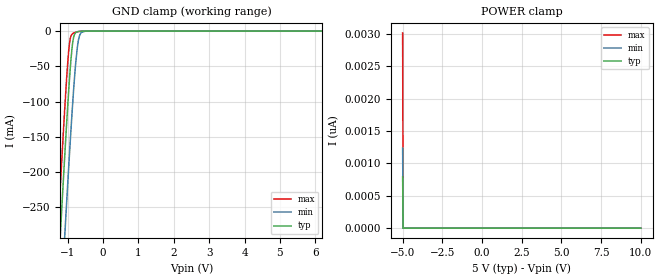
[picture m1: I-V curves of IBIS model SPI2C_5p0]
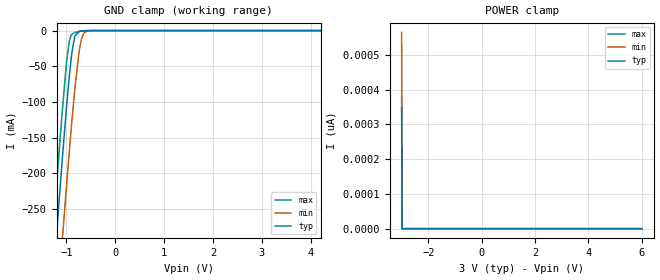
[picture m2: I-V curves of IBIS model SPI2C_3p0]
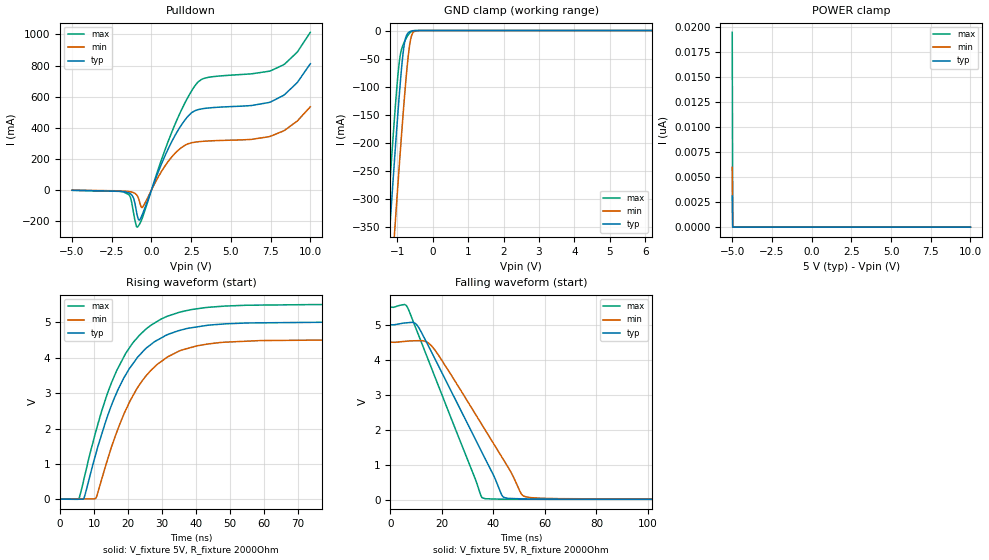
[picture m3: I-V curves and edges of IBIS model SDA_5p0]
|Texas Instruments Incorporated
|  part#   Digital Voltage Range
| DACx0502   2.7V - 5.5V
[IBIS Ver]   4.1
[File name]   dacx0502.ibs
[File Rev]   1.0
[Date]   09/11/2019
[Source]
| Texas Instruments Incorporated.
| 12500 TI Blvd
| Dallas, TX -75243
[Notes]   Revision History:
| Rev 1.0: 09/11/2019
| - Initial version of the model
| - Model generated from simulations in TISPICE
| - C_comp although listed in numerical order of value are
|   obtained from varying PVT conditions. For PVT conditions for
|   each specific value refer the buffer description under
|   respective [Model]. IBIS model user is responsible for using
|   appropriate C_comp to simulate for Signal Integrity.
| - Warnings regarding combined Non-monotonicity of various models have been
|   reviewed and considered minor and can be ignored.
| - Model names with a trailing _3p0 contain the model for
|   3.0V operation. Model names with a trailing _5p0 contain the model
|   for 5.0V operation.
[Disclaimer]
| This model is designed as an aid for customers of Texas Instruments.
| TI and its licensors and suppliers make no warranties, either expressed
| or implied, with respect to this  model, including the warranties of
| merchantability or fitness for a particular purpose. The model is
| provided solely on an "as is" basis. The entire risk as to its quality
| and performance is with the customer.
| This model is subject to change without notice. Texas Instruments
| Incorporated is not responsible for updating this model.
[Copyright]
 (C) Copyright 2019 Texas Instruments Incorporated. All rights reserved.
|   Device
[Component]  DACX0502DRX | 10 pin VSON
[Manufacturer]   TI
[Package]
| variable   typ   min   max
R_pkg   0.05   0.04   0.06
L_pkg   1.0nH   0.8nH   1.2nH
C_pkg   0.2pF   0.16pF   0.24pF
[Pin]  signal_name   model_name   R_pin   L_pin   C_pin
1   VDD   POWER   na   na   na
2   VOUTA   NC   na   na   na
3   RSTSEL   SPI2C   na   na   na
4   AGND   GND   na   na   na
5   SPI2C   SPI2C   na   na   na
6   SCLK/SCL   SCL   na   na   na
7   SYNCB/A0   SCL   na   na   na
8   SDIN/SDA   SDA   na   na   na
9   VOUTB   NC   na   na   na
10   VREFIO   NC   na   na   na
|   Model Selectors
[Model Selector]  SDA
SDA_3p0  I/O open drain buffer at 3.0V operation
SDA_5p0  I/O open drain buffer at 5.0V operation
[Model Selector]  SCL
SCL_3p0   input buffer at 3.0V operation
SCL_5p0   input buffer at 5.0V operation
[Model Selector]  SPI2C
SPI2C_3p0   input buffer at 3.0V operation
SPI2C_5p0   input buffer at 5.0V operation
| Models and submodels in the file (6): SPI2C_5p0 (Input), SPI2C_3p0 (Input), SDA_5p0 (I/O_open_drain), SDA_3p0 (I/O_open_drain), SCL_5p0 (Input), SCL_3p0 (Input)
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|   Model
[Model]   SPI2C_5p0
Model_type   Input
Vinl = 1.5
Vinh = 3.5
|   typ   min   max
C_comp   0.423pF   0.377pF   0.481pF
[Voltage Range]   5   4.5   5.5
[Temperature Range]   25   125   -40
[Power Clamp Reference]   5   4.5   5.5
[GND Clamp Reference]   0   0   0
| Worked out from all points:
|   GND clamp passes 1 mA (typ) near -0.73 V on its own axis
[GND Clamp]
|   Voltage   I(typ)   I(min)   I(max)
-5V       -4.018A    -4.121A    -3.958A
-1.43V    -501.2mA   -615.9mA   -432.8mA
-1.25V    -331.9mA   -447mA     -263mA
-1.16V    -249.3mA   -364.1mA   -180.8mA
-1.085V   -182.4mA   -296.2mA   -115.2mA
-1.04V    -143.7mA   -256.2mA   -78.36mA
-950mV    -71.94mA   -178.6mA   -19.98mA
-875mV    -25.31mA   -118mA     -4.433mA
-800mV    -4.408mA   -64.17mA   -2.261mA
-680mV    -446.2uA   -10.05mA   -678.1uA
-500mV    -9.097uA   -173.1uA   -17.18uA
10V       0A         0A         0A
[POWER Clamp]
|   Voltage   I(typ)   I(min)   I(max)
-5V       793pA      1.236nA    3.013nA
-4.97V    0A         0A         0A
-4.955V   0A         0A         0A
10V       0A         0A         0A
|   Model
[Model]   SPI2C_3p0
Model_type   Input
Vinl = 0.9
Vinh = 2.1
|   typ   min   max
C_comp   0.423pF   0.377pF   0.481pF
[Voltage Range]   3   2.7   3.3
[Temperature Range]   25   125   -40
[Power Clamp Reference]   3   2.7   3.3
[GND Clamp Reference]   0   0   0
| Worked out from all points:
|   GND clamp passes 1 mA (typ) near -0.73 V on its own axis
[GND Clamp]
|   Voltage   I(typ)   I(min)   I(max)
-3V       -2.035A    -2.143A    -1.972A
-1.281V   -360.7mA   -475.8mA   -291.9mA
-1.146V   -236.7mA   -351.3mA   -168.2mA
-1.092V   -188.6mA   -302.4mA   -121.1mA
-1.011V   -119.5mA   -230.8mA   -56.49mA
-939mV    -64.04mA   -169.5mA   -15.61mA
-885mV    -30.31mA   -125.8mA   -5.092mA
-831mV    -9.604mA   -85.27mA   -2.895mA
-705mV    -676.1uA   -16.7mA    -909.7uA
-642mV    -228.2uA   -4.238mA   -403.6uA
-552mV    -33.57uA   -536.7uA   -69.65uA
6V        0A         0A         0A
[POWER Clamp]
|   Voltage   I(typ)   I(min)   I(max)
-3V       347.9pA    564.7pA    379.3pA
-2.982V   0A         0A         0A
-2.973V   0A         0A         0A
6V        0A         0A         0A
|   Model
[Model]   SDA_5p0
Model_type   I/O_open_drain
Polarity   Non-Inverting
Enable   Active-Low
Vinl = 1.5
Vinh = 3.5
Vmeas = 2.5
Vref = 5
Cref = 1pF
Rref = 2000
|   typ   min   max
C_comp   3.377pF   3.057pF   3.504pF
[Voltage Range]   5   4.5   5.5
[Temperature Range]   25   125   -40
[Pullup Reference]   5   4.5   5.5
[Pulldown Reference]   0   0   0
[Power Clamp Reference]   5   4.5   5.5
[GND Clamp Reference]   0   0   0
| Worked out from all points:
|   slope of the pulldown table from 0 to 0.75 V, typ, clamps not added: 3.83 ohm
|   GND clamp passes 1 mA (typ) near -0.61 V on its own axis
|   falling waveform, V_fixture 5V, R_fixture 2000Ohm: 20-80 % time 20.5ns typ, 22.6ns min, 17.6ns max; typ from 5 V to 0.009 V
|   rising waveform, V_fixture 5V, R_fixture 2000Ohm: 20-80 % time 13ns typ, 13.1ns min, 13ns max; typ from 0.009 V to 5 V
[Pulldown]
|   Voltage   I(typ)   I(min)   I(max)
-5V       -2.015mA   -1.612mA   -2.004mA
-1.415V   -18.81mA   -10.03mA   -30.58mA
-1.13V    -51.47mA   -17.01mA   -147.1mA
-875mV    -172.4mA   -40.36mA   -237.7mA
-755mV    -193.7mA   -74.64mA   -220.1mA
-560mV    -153.6mA   -110.9mA   -175.3mA
1.36V     327.1mA    222.1mA    392.2mA
2.245V    467.7mA    294.4mA    586.7mA
2.905V    515.7mA    309.7mA    691.5mA
7.495V    565.8mA    345.4mA    766.1mA
9.16V     688.7mA    441.9mA    884.5mA
10V       811.4mA    534.7mA    1.014A
[GND Clamp]
|   Voltage   I(typ)   I(min)   I(max)
-5V       -4.075A    -4.197A    -4.003A
-1.43V    -557mA     -689.3mA   -477.9mA
-1.25V    -386.7mA   -519.1mA   -307.9mA
-1.145V   -289.5mA   -421.3mA   -211.9mA
-1.085V   -235.2mA   -366.1mA   -159.4mA
-1.055V   -208.5mA   -338.8mA   -134.2mA
-950mV    -119.3mA   -245mA     -59.1mA
-830mV    -36.45mA   -143.6mA   -24.41mA
-710mV    -5.467mA   -56.39mA   -9.431mA
-620mV    -1.144mA   -14.6mA    -2.617mA
-410mV    -5.32uA    -78.75uA   -6.596uA
10V       0A         0A         0A
[POWER Clamp]
|   Voltage   I(typ)   I(min)   I(max)
-5V       3.107nA    5.988nA    19.48nA
-4.97V    0A         0A         0A
-4.955V   0A         0A         0A
10V       0A         0A         0A
[Ramp]
R_load = 2000
|   typ   min   max
dV/dt_r   2.99475/1.30305e-08   2.69358/1.3102e-08   3.29494/1.2999e-08
dV/dt_f   2.99475/2.04384e-08   2.69358/2.2555e-08   3.29494/1.7592e-08
[Falling Waveform]
V_fixture = 5V
V_fixture_min = 4.5V
V_fixture_max = 5.5V
R_fixture = 2000Ohm
C_fixture = 0F
|   Time   V(typ)   V(min)   V(max)
0s        5V         4.5V       5.5V
6.136ns   5.052V     4.525V     5.553V
10.8ns    4.945V     4.542V     4.735V
17.22ns   4.04V      4.285V     3.528V
35.25ns   1.399V     2.18V      103mV
36.76ns   1.178V     1.998V     28.07mV
44.02ns   68.39mV    1.13V      13.14mV
51.06ns   23.02mV    142.5mV    11.9mV
58.2ns    16.32mV    39.32mV    10.64mV
500ns     8.749mV    10.7mV     8.432mV
[Rising Waveform]
V_fixture = 5V
V_fixture_min = 4.5V
V_fixture_max = 5.5V
R_fixture = 2000Ohm
C_fixture = 0F
|   Time   V(typ)   V(min)   V(max)
0s        8.748mV    10.7mV     8.432mV
5.572ns   7.709mV    14.02mV    22.36mV
7.02ns    34.77mV    14.88mV    578mV
10.59ns   1.312V     44.51mV    1.945V
15.25ns   2.689V     1.515V     3.322V
21.07ns   3.78V      2.862V     4.371V
28.63ns   4.495V     3.812V     5.024V
42.56ns   4.901V     4.371V     5.41V
79.62ns   4.999V     4.499V     5.498V
500ns     5V         4.5V       5.5V
